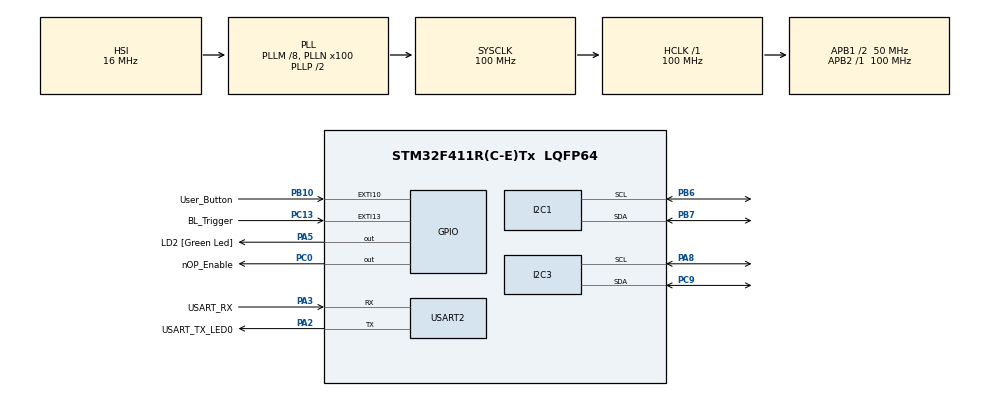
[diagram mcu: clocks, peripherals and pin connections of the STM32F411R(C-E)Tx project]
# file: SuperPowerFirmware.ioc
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Mcu.Family=STM32F4
FREERTOS.Queues01=Display_R_Queue,16,uint16_t,0,Dynamic,NULL,NULL;RTC_R_Queue,16,Task_Data,0,Dynamic,NULL,NULL;Statemachine_R_Queue,16,uint16_t,0,Dynamic,NULL,NULL;LED_R_Queue,16,LED_QueueMsg_t*,0,Dynamic,NULL,NULL;Test_R_Queue,16,Task_Data,0,Dynamic,NULL,NULL
RCC.CortexFreq_Value=100000000
NVIC.I2C1_EV_IRQn=true\:5\:0\:false\:false\:true\:false\:true\:true
Dma.I2C1_TX.1.Mode=DMA_CIRCULAR
PA14.GPIO_Label=TCK
PC0.GPIO_Label=nOP_Enable
VP_RTC_VS_RTC_Activate.Mode=RTC_Enabled
PC0.GPIO_ModeDefaultOutputPP=GPIO_MODE_OUTPUT_OD
RCC.SYSCLKSource=RCC_SYSCLKSOURCE_PLLCLK
ProjectManager.StackSize=0x400
VP_FREERTOS_VS_CMSIS_V2.Mode=CMSIS_V2
Dma.I2C1_TX.1.Direction=DMA_MEMORY_TO_PERIPH
RTC.SynchPrediv=249
PH0\ -\ OSC_IN.Signal=RCC_OSC_IN
FREERTOS.configUSE_STATS_FORMATTING_FUNCTIONS=1
RCC.HCLKFreq_Value=100000000
RCC.APB2TimFreq_Value=100000000
PB6.Signal=I2C1_SCL
Dma.I2C1_RX.0.PeriphDataAlignment=DMA_PDATAALIGN_BYTE
PB6.Mode=I2C
Dma.I2C1_TX.1.PeriphInc=DMA_PINC_DISABLE
FREERTOS.configMINIMAL_STACK_SIZE=1024
RCC.AHBFreq_Value=100000000
Dma.I2C1_RX.0.Priority=DMA_PRIORITY_VERY_HIGH
NVIC.EXTI15_10_IRQn=true\:5\:0\:false\:false\:true\:true\:true\:true
NVIC.TIM1_TRG_COM_TIM11_IRQn=true\:0\:0\:false\:false\:true\:false\:false\:true
RCC.HSE_VALUE=8000000
PB3.Mode=Trace_Asynchronous_SW
Dma.I2C1_RX.0.Mode=DMA_CIRCULAR
PC13-ANTI_TAMP.Signal=GPXTI13
FREERTOS.configENABLE_BACKWARD_COMPATIBILITY=1
NVIC.I2C3_EV_IRQn=true\:5\:0\:true\:false\:true\:false\:true\:true
I2C1.NoStretchMode=I2C_NOSTRETCH_DISABLE
PA14.Mode=Trace_Asynchronous_SW
PC9.Mode=I2C
RTC.AsynchPrediv=127
PB7.Signal=I2C1_SDA
PA8.Signal=I2C3_SCL
Dma.I2C1_RX.0.Direction=DMA_PERIPH_TO_MEMORY
NVIC.I2C1_ER_IRQn=true\:5\:0\:false\:false\:true\:false\:true\:true
FREERTOS.configTOTAL_HEAP_SIZE=50000
RCC.FLatency-AdvancedSettings=FLASH_LATENCY_3
Mcu.Package=LQFP64
NVIC.TimeBase=TIM1_TRG_COM_TIM11_IRQn
USART2.VirtualMode=VM_ASYNC
PA2.GPIO_Label=USART_TX_LED0
NVIC.TimeBaseIP=TIM11
VP_RTC_VS_RTC_Calendar.Mode=RTC_Calendar
Dma.Request1=I2C1_TX
RCC.APB1TimFreq_Value=100000000
FREERTOS.configGENERATE_RUN_TIME_STATS=1
NVIC.DMA1_Stream0_IRQn=true\:5\:0\:false\:false\:true\:true\:false\:true
Dma.Request0=I2C1_RX
PC0.PinState=GPIO_PIN_SET
PA3.Signal=USART2_RX
Dma.I2C1_TX.1.PeriphDataAlignment=DMA_PDATAALIGN_BYTE
Dma.I2C1_RX.0.PeriphInc=DMA_PINC_DISABLE
I2C3.I2C_Mode=I2C_Fast
Dma.I2C1_RX.0.MemDataAlignment=DMA_MDATAALIGN_BYTE
FREERTOS.Tasks01=Display,24,2048,Display_Task,Default,NULL,Dynamic,NULL,NULL;RTC,8,2048,RTC_Task,Default,NULL,Dynamic,NULL,NULL;StateMachine,8,2048,StateMachine_Task,Default,NULL,Dynamic,NULL,NULL;LED,8,2048,LED_Task,Default,NULL,Dynamic,NULL,NULL;Test,8,1024,Test_Task,Default,NULL,Dynamic,NULL,NULL
PC13-ANTI_TAMP.GPIO_Label=BL_Trigger
FREERTOS.configCHECK_FOR_STACK_OVERFLOW=2
FREERTOS.configUSE_TICKLESS_IDLE=1
NVIC.DMA1_Stream1_IRQn=true\:5\:0\:false\:false\:true\:true\:false\:true
PC0.Signal=GPIO_Output
RCC.APB1CLKDivider=RCC_HCLK_DIV2
PC14-OSC32_IN.Signal=RCC_OSC32_IN
I2C1.OwnAddress2=0x41
FREERTOS.INCLUDE_uxTaskGetStackHighWaterMark=1
I2C1.DualAddressMode=I2C_DUALADDRESS_ENABLE
PA13.Signal=SYS_JTMS-SWDIO
PA3.Mode=Asynchronous
FREERTOS.configRECORD_STACK_HIGH_ADDRESS=1
ProjectManager.TargetToolchain=STM32CubeIDE
PB10.GPIO_Label=User_Button
Dma.I2C1_RX.0.MemInc=DMA_MINC_ENABLE
Dma.I2C1_TX.1.Instance=DMA1_Stream1
RCC.LSE_VALUE=32768
PC15-OSC32_OUT.Signal=RCC_OSC32_OUT
PB10.Signal=GPXTI10
PA5.Signal=GPIO_Output
PH1\ -\ OSC_OUT.Signal=RCC_OSC_OUT
board=NUCLEO-F411RE
RCC.VCOOutputFreq_Value=200000000
Dma.I2C1_TX.1.Priority=DMA_PRIORITY_VERY_HIGH
Dma.I2C1_TX.1.FIFOMode=DMA_FIFOMODE_DISABLE
RCC.APB2Freq_Value=100000000
Dma.I2C1_TX.1.MemInc=DMA_MINC_ENABLE
Dma.I2C1_TX.1.MemDataAlignment=DMA_MDATAALIGN_BYTE
PA13.Mode=Trace_Asynchronous_SW
VP_SYS_VS_tim11.Mode=TIM11
Mcu.Name=STM32F411R(C-E)Tx
PA2.Signal=USART2_TX
PA13.GPIO_Label=TMS
FREERTOS.INCLUDE_uxTaskGetStackHighWaterMark2=1
I2C1.OwnAddress=0x40
RCC.48MHZClocksFreq_Value=50000000
PB3.Signal=SYS_JTDO-SWO
RCC.SYSCLKFreq_VALUE=100000000
PA5.GPIO_Label=LD2 [Green Led]
PC13-ANTI_TAMP.GPIO_ModeDefaultEXTI=GPIO_MODE_IT_FALLING
PB7.Mode=I2C
PA14.Signal=SYS_JTCK-SWCLK
ProjectManager.HeapSize=0x200
Dma.I2C1_RX.0.FIFOMode=DMA_FIFOMODE_DISABLE
RCC.HSI_VALUE=16000000
NVIC.PriorityGroup=NVIC_PRIORITYGROUP_4
RCC.PLLM=8
NVIC.I2C3_ER_IRQn=true\:5\:0\:true\:false\:true\:false\:true\:true
RCC.PLLN=100
PA2.Mode=Asynchronous
PA8.Mode=I2C
PC9.Signal=I2C3_SDA
RCC.APB1Freq_Value=50000000
Dma.I2C1_RX.0.Instance=DMA1_Stream0
PA3.GPIO_Label=USART_RX

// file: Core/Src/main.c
/* USER CODE BEGIN Header */
/**
  ******************************************************************************
  * @file           : main.c
  * @brief          : Main program body
  ******************************************************************************
  * @attention
  *
  * <h2><center>&copy; Copyright (c) 2020 STMicroelectronics.
  * All rights reserved.</center></h2>
  *
  * This software component is licensed by ST under Ultimate Liberty license
  * SLA0044, the "License"; You may not use this file except in compliance with
  * the License. You may obtain a copy of the License at:
  *                             www.st.com/SLA0044
  *
  ******************************************************************************
  */
/* USER CODE END Header */
#include "main.h"
#include "cmsis_os.h"
#include "dma.h"
#include "i2c.h"
#include "rtc.h"
#include "usart.h"
#include "gpio.h"

void SystemClock_Config(void);
void MX_FREERTOS_Init(void);

int main(void)
{

  /* MCU Configuration--------------------------------------------------------*/

  /* Reset of all peripherals, Initializes the Flash interface and the Systick. */
  HAL_Init();

  /* Configure the system clock */
  SystemClock_Config();

  /* Initialize all configured peripherals */
  MX_GPIO_Init();
  MX_DMA_Init();
  MX_USART2_UART_Init();
  MX_I2C1_Init();
  MX_RTC_Init();
  MX_I2C3_Init();
  /* USER CODE BEGIN 2 */

  // The RTC has to be initialized before we can read the registers
  restore_registers();

  // TODO RTC Verify that this works
	if (hrtc.Init.AsynchPrediv != i2c_config_register_8bit->rtc_async_prediv
		|| hrtc.Init.SynchPrediv != i2c_config_register_16bit->rtc_sync_prediv) {
		hrtc.Init.AsynchPrediv = i2c_config_register_8bit->rtc_async_prediv;
		hrtc.Init.SynchPrediv = i2c_config_register_16bit->rtc_sync_prediv;
		MX_RTC_Init();
	}

#ifdef FREERTOS_TOTAL_RUNTIME_TIMER
  initializeTimerForRunTimeStats();
  configureTimerForRunTimeStats();

#if (configUSE_TRACE_FACILITY == 1)
  //this enables the trace streaming to the ITM port
  //but it requires the configUSE_TRACE_FACILITY flag
  //enabled on the FreeRTOSConfig.h flag
  vTraceEnable(TRC_START);
#endif
#endif

  // Reset the timeout counter and enable listening on our
  // connection to the RPi
  reset_timeout();
  HAL_I2C_EnableListen_IT(&hi2c1);

  /* USER CODE END 2 */

  /* Init scheduler */
  osKernelInitialize();  /* Call init function for freertos objects (in freertos.c) */
  MX_FREERTOS_Init();
  /* Start scheduler */
  osKernelStart();

  /* We should never get here as control is now taken by the scheduler */
  /* Infinite loop */
  while (1)
  {

  }
}

void SystemClock_Config(void)
{
  RCC_OscInitTypeDef RCC_OscInitStruct = {0};
  RCC_ClkInitTypeDef RCC_ClkInitStruct = {0};
  RCC_PeriphCLKInitTypeDef PeriphClkInitStruct = {0};

  /** Configure the main internal regulator output voltage
  */
  __HAL_RCC_PWR_CLK_ENABLE();
  __HAL_PWR_VOLTAGESCALING_CONFIG(PWR_REGULATOR_VOLTAGE_SCALE1);
  /** Initializes the RCC Oscillators according to the specified parameters
  * in the RCC_OscInitTypeDef structure.
  */
  RCC_OscInitStruct.OscillatorType = RCC_OSCILLATORTYPE_HSI|RCC_OSCILLATORTYPE_LSI;
  RCC_OscInitStruct.HSIState = RCC_HSI_ON;
  RCC_OscInitStruct.HSICalibrationValue = RCC_HSICALIBRATION_DEFAULT;
  RCC_OscInitStruct.LSIState = RCC_LSI_ON;
  RCC_OscInitStruct.PLL.PLLState = RCC_PLL_ON;
  RCC_OscInitStruct.PLL.PLLSource = RCC_PLLSOURCE_HSI;
  RCC_OscInitStruct.PLL.PLLM = 8;
  RCC_OscInitStruct.PLL.PLLN = 100;
  RCC_OscInitStruct.PLL.PLLP = RCC_PLLP_DIV2;
  RCC_OscInitStruct.PLL.PLLQ = 4;
  if (HAL_RCC_OscConfig(&RCC_OscInitStruct) != HAL_OK)
  {
    Error_Handler();
  }
  /** Initializes the CPU, AHB and APB buses clocks
  */
  RCC_ClkInitStruct.ClockType = RCC_CLOCKTYPE_HCLK|RCC_CLOCKTYPE_SYSCLK
                              |RCC_CLOCKTYPE_PCLK1|RCC_CLOCKTYPE_PCLK2;
  RCC_ClkInitStruct.SYSCLKSource = RCC_SYSCLKSOURCE_PLLCLK;
  RCC_ClkInitStruct.AHBCLKDivider = RCC_SYSCLK_DIV1;
  RCC_ClkInitStruct.APB1CLKDivider = RCC_HCLK_DIV2;
  RCC_ClkInitStruct.APB2CLKDivider = RCC_HCLK_DIV1;

  if (HAL_RCC_ClockConfig(&RCC_ClkInitStruct, FLASH_LATENCY_3) != HAL_OK)
  {
    Error_Handler();
  }
  PeriphClkInitStruct.PeriphClockSelection = RCC_PERIPHCLK_RTC;
  PeriphClkInitStruct.RTCClockSelection = RCC_RTCCLKSOURCE_LSI;
  if (HAL_RCCEx_PeriphCLKConfig(&PeriphClkInitStruct) != HAL_OK)
  {
    Error_Handler();
  }
}

 /**
  * @brief  Period elapsed callback in non blocking mode
  * @note   This function is called  when TIM11 interrupt took place, inside
  * HAL_TIM_IRQHandler(). It makes a direct call to HAL_IncTick() to increment
  * a global variable "uwTick" used as application time base.
  * @param  htim : TIM handle
  * @retval None
  */
void HAL_TIM_PeriodElapsedCallback(TIM_HandleTypeDef *htim)
{
  if (htim->Instance == TIM11) {
    HAL_IncTick();
  }
}

void Error_Handler(void)
{
  __disable_irq();
  while (1)
  {
  }
}

/************************ (C) COPYRIGHT STMicroelectronics *****END OF FILE****/

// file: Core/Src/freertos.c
/* USER CODE BEGIN Header */
/**
  ******************************************************************************
  * File Name          : freertos.c
  * Description        : Code for freertos applications
  ******************************************************************************
  * @attention
  *
  * <h2><center>&copy; Copyright (c) 2020 STMicroelectronics.
  * All rights reserved.</center></h2>
  *
  * This software component is licensed by ST under Ultimate Liberty license
  * SLA0044, the "License"; You may not use this file except in compliance with
  * the License. You may obtain a copy of the License at:
  *                             www.st.com/SLA0044
  *
  ******************************************************************************
  */
/* USER CODE END Header */

#include "FreeRTOS.h"
#include "task.h"
#include "main.h"
#include "cmsis_os.h"

/* USER CODE BEGIN Includes */
#include <stdbool.h>
#include <string.h>
#include "i2c.h"
#include "ch_bq25895.h"
#include "rtc.h"
#include "task_communication.h"
#include "led_patterns.h"
#include "ups_state.h"
#include "rtc.h"
#include "display.h"
/* USER CODE END Includes */

/* Definitions for Display */
osThreadId_t DisplayHandle;
const osThreadAttr_t Display_attributes = {
  .name = "Display",
  .stack_size = 2048 * 4,
  .priority = (osPriority_t) osPriorityNormal,
};
/* Definitions for RTC */
osThreadId_t RTCHandle;
const osThreadAttr_t RTC_attributes = {
  .name = "RTC",
  .stack_size = 2048 * 4,
  .priority = (osPriority_t) osPriorityLow,
};
/* Definitions for StateMachine */
osThreadId_t StateMachineHandle;
const osThreadAttr_t StateMachine_attributes = {
  .name = "StateMachine",
  .stack_size = 2048 * 4,
  .priority = (osPriority_t) osPriorityLow,
};
/* Definitions for LED */
osThreadId_t LEDHandle;
const osThreadAttr_t LED_attributes = {
  .name = "LED",
  .stack_size = 2048 * 4,
  .priority = (osPriority_t) osPriorityLow,
};
/* Definitions for Test */
osThreadId_t TestHandle;
const osThreadAttr_t Test_attributes = {
  .name = "Test",
  .stack_size = 1024 * 4,
  .priority = (osPriority_t) osPriorityLow,
};
/* Definitions for Display_R_Queue */
osMessageQueueId_t Display_R_QueueHandle;
const osMessageQueueAttr_t Display_R_Queue_attributes = {
  .name = "Display_R_Queue"
};
/* Definitions for RTC_R_Queue */
osMessageQueueId_t RTC_R_QueueHandle;
const osMessageQueueAttr_t RTC_R_Queue_attributes = {
  .name = "RTC_R_Queue"
};
/* Definitions for Statemachine_R_Queue */
osMessageQueueId_t Statemachine_R_QueueHandle;
const osMessageQueueAttr_t Statemachine_R_Queue_attributes = {
  .name = "Statemachine_R_Queue"
};
/* Definitions for LED_R_Queue */
osMessageQueueId_t LED_R_QueueHandle;
const osMessageQueueAttr_t LED_R_Queue_attributes = {
  .name = "LED_R_Queue"
};
/* Definitions for Test_R_Queue */
osMessageQueueId_t Test_R_QueueHandle;
const osMessageQueueAttr_t Test_R_Queue_attributes = {
  .name = "Test_R_Queue"
};

void Display_Task(void *argument);
void RTC_Task(void *argument);
void StateMachine_Task(void *argument);
void LED_Task(void *argument);
void Test_Task(void *argument);

void MX_FREERTOS_Init(void); /* (MISRA C 2004 rule 8.1) */

/* Hook prototypes */
void configureTimerForRunTimeStats(void);
unsigned long getRunTimeCounterValue(void);
void vApplicationStackOverflowHook(xTaskHandle xTask, signed char *pcTaskName);

/* USER CODE BEGIN 1 */
/* Functions needed when configGENERATE_RUN_TIME_STATS is on */

/* USER CODE END 1 */

/* USER CODE BEGIN 4 */
void vApplicationStackOverflowHook(xTaskHandle xTask, signed char *pcTaskName)
{
   /* Run time stack overflow checking is performed if
   configCHECK_FOR_STACK_OVERFLOW is defined to 1 or 2. This hook function is
   called if a stack overflow is detected. */
}
/* USER CODE END 4 */

/* USER CODE BEGIN PREPOSTSLEEP */
__weak void PreSleepProcessing(uint32_t ulExpectedIdleTime)
{
/* place for user code */
}

__weak void PostSleepProcessing(uint32_t ulExpectedIdleTime)
{
/* place for user code */
}
/* USER CODE END PREPOSTSLEEP */

void MX_FREERTOS_Init(void) {

  /* Create the queue(s) */
  /* creation of Display_R_Queue */
  Display_R_QueueHandle = osMessageQueueNew (16, sizeof(uint16_t), &Display_R_Queue_attributes);

  /* creation of RTC_R_Queue */
  RTC_R_QueueHandle = osMessageQueueNew (16, sizeof(Task_Data), &RTC_R_Queue_attributes);

  /* creation of Statemachine_R_Queue */
  Statemachine_R_QueueHandle = osMessageQueueNew (16, sizeof(uint16_t), &Statemachine_R_Queue_attributes);

  /* creation of LED_R_Queue */
  LED_R_QueueHandle = osMessageQueueNew (16, sizeof(LED_QueueMsg_t*), &LED_R_Queue_attributes);

  /* creation of Test_R_Queue */
  Test_R_QueueHandle = osMessageQueueNew (16, sizeof(Task_Data), &Test_R_Queue_attributes);

  /* Create the thread(s) */
  /* creation of Display */
  DisplayHandle = osThreadNew(Display_Task, NULL, &Display_attributes);

  /* creation of RTC */
  RTCHandle = osThreadNew(RTC_Task, NULL, &RTC_attributes);

  /* creation of StateMachine */
  StateMachineHandle = osThreadNew(StateMachine_Task, NULL, &StateMachine_attributes);

  /* creation of LED */
  LEDHandle = osThreadNew(LED_Task, NULL, &LED_attributes);

  /* creation of Test */
  TestHandle = osThreadNew(Test_Task, NULL, &Test_attributes);

}

/* USER CODE BEGIN Header_Display_Task */

/**
  * @brief  Function implementing the Display thread. This thread is responsible for
  * the communication with a OLED display connected to the Qwiic connector. The
  * display type itself is defined in the source file display.c.
  * If a valid display type is set then the display is updated every second.
  * @param  argument: Not used
  * @retval None
  */
/* USER CODE END Header_Display_Task */
void Display_Task(void *argument)
{
  /* USER CODE BEGIN Display_Task */
	uint16_t re_init = (i2c_config_register_8bit->display_type != 0);  // 1 signals initialization necessary

	/* Infinite loop */
	for (;;) {
		uint8_t display_type = i2c_config_register_8bit->display_type;
		if(display_type == 0 || display_type > num_display_definitions) {
			if(re_init == 1) {
				// this frees the memory allocated by the display buffers
				// if we switched from an actual display type to 0
				re_init = 0;
				deinit_display();
			}

			// If we do not have a valid display type we simply wait for the next
			// message
			osMessageQueueGet(Display_R_QueueHandle, &re_init, NULL, osWaitForever);
		} else {
			if(re_init == 1) {
				re_init = 0;
				init_display(display_type);
			}
			update_display(display_type);

			// Wait one second, then go into the next loop to update the display
			osMessageQueueGet(Display_R_QueueHandle, &re_init, NULL, 1000);
		}
	}
  /* USER CODE END Display_Task */
}

void RTC_Task(void *argument)
{
  /* USER CODE BEGIN RTC_Task */
	Task_Data msg;
	osStatus_t status;
	for(;;)
	{
		status = osMessageQueueGet(RTC_R_QueueHandle, &msg, NULL, osWaitForever);
		if(status ==osOK){
//			debug_print("RTC_Task receive, ");
			rtc_msg_decode(msg.data_size, msg.data);
		}
	}
  /* USER CODE END RTC_Task */
}

/* USER CODE BEGIN Header_StateMachine_Task */

/**
* @brief Function implementing the StateMachine thread. This thread is responsible
* for retrieving the charger info, writing the important information to the I2C
* registers and then calling the state machine with the updated info.
* @param argument: Not used
* @retval None
*/
/* USER CODE END Header_StateMachine_Task */
void StateMachine_Task(void *argument)
{
  /* USER CODE BEGIN StateMachine_Task */

	HAL_StatusTypeDef ret_val;

 	// initialize charger on startup
	ret_val = ch_init(&hi2c3);

	/* Infinite loop */
	for (;;) {
		uint16_t msg = 0;

		if (hi2c3.State == HAL_I2C_STATE_READY) {
			// start ADC conversion
			ret_val = ch_transfer_byte_to_register(&hi2c3, CH_CONV_ADC,
					CH_CONV_ADC_START);

			if (ret_val == HAL_OK) {
				osDelay(ch_conv_delay); // time for conversion, see 8.2.8 Battery Monitor on p.24

				// Tell the charger that we want to read its registers
				uint8_t reg = CH_STATUS;
				ret_val = HAL_I2C_Master_Transmit(&hi2c3, CHARGER_ADDRESS, &reg, 1, ch_i2c_master_timeout);

				if (ret_val == HAL_OK) {
					// Read the charger registers into the array i2c_ch_BQ25895_register_reg
					ret_val = HAL_I2C_Master_Receive(&hi2c3, CHARGER_ADDRESS, i2c_ch_BQ25895_register_reg,
							sizeof(I2C_CH_BQ25895_Register), ch_i2c_master_timeout);
					if(ret_val == HAL_OK) {
						// Reading the registers was successful, extract information and write it
						// to the I2C registers
						i2c_status_register_8bit->charger_status = i2c_ch_BQ25895_register.ch_status;
						uint16_t batv = ch_convert_batv(i2c_ch_BQ25895_register.ch_bat_voltage);
						i2c_status_register_16bit->ups_bat_voltage = batv;
						uint16_t vbus_v = ch_convert_vbus(i2c_ch_BQ25895_register.ch_vbus_voltage);
						i2c_status_register_16bit->vbus_voltage = vbus_v;
						uint16_t ch_current = ch_convert_charge_current(i2c_ch_BQ25895_register.ch_charge_current);
						i2c_status_register_16bit->charge_current = ch_current;

						// ok, contact has been established, we can use the values
						i2c_status_register_8bit->charger_contact = true;
					}

				} else if (ret_val == HAL_ERROR) { // Master Transmit Address
					// This should never happen because we just did a successful
					// transmit a second ago. We have to ignore this and hope for
					// the next time.
				}
			} else if (ret_val == HAL_ERROR) { // Master_Transmit ADC
				// cannot transmit data to the charger, means the device
				// is not reachable. We simply ignore this and wait for
				// it to come online.
			}
		}

		// Now we have the updated charger info and call the state machine
		handle_state();

		// Trigger an update for the display thread
		osMessageQueuePut(Display_R_QueueHandle, &msg, 0, 0);

		osDelay(ups_update_interval);
	}
  /* USER CODE END StateMachine_Task */
}

/* USER CODE BEGIN Header_LED_Task */
/**
* @brief Function implementing the LED thread. This thread receives patterns
* in its queue and blinks the LED accordingly. Until the UPS gets a RGB LED
* this only turns an LED on and off. The patters are defined in the source
* file led_patterns.c.
* @param argument: Not used
* @retval None
*/
/* USER CODE END Header_LED_Task */
void LED_Task(void *argument)
{
  /* USER CODE BEGIN LED_Task */
	LED_QueueMsg_t *msg;
	LED_QueueMsg_t *current = NULL, *background = blink_second_background;
	osStatus_t status;
	uint32_t waiting_time = 0;

    for(;;)
    {
	if(background == NULL) {
		waiting_time = osWaitForever; // wait for message
	} else {
		waiting_time = 0; // do not wait for message
	}
		status = osMessageQueueGet(LED_R_QueueHandle, &msg, NULL, waiting_time);
		if (status == osOK) {
			if(msg->iterations == 0) {
				// If iterations is 0 then we turn off the background blinking
				background = NULL;
				current = NULL;
			} else if(msg->iterations == 255) {
				// If iterations is 0xFF then we use the blink pattern as the
				// new current and background pattern
				background = msg;
				current = background;
			} else {
				current = msg;
			}
		} else {
			// No new message, we choose the background pattern if it is set
			current = background;
		}

		if(current != NULL) {
			uint8_t iterations = current->iterations;

			// We have a background pattern
			if(iterations == 0xFF) {
				iterations = 1;
			}

			// Iterate through the steps for # of iterations
			for(uint8_t i = 0; i < iterations; i++) {
				for(uint8_t s = 0; s < current->number_steps; s++) {
					LED_Step step = ((LED_Step *)(current->steps))[s];
					uint8_t repeat = step.repeat;
					if(repeat == 0) repeat = 1;

					for(uint8_t r = 0; r < repeat; r++) {
						if(step.ontime != 0)
						{
							HAL_GPIO_WritePin(LD2_GPIO_Port, LD2_Pin, GPIO_PIN_SET);
							osDelay(step.ontime);
						}
						if(step.offtime != 0) {
							HAL_GPIO_WritePin(LD2_GPIO_Port, LD2_Pin, GPIO_PIN_RESET);
							osDelay(step.offtime);
						}
					}
				}
			}
			if(current->final_delay != 0) {
				osDelay(current->final_delay);
			}
		}
		current = NULL;
    }
  /* USER CODE END LED_Task */
}

/* USER CODE BEGIN Header_Test_Task */
/**
* @brief Function implementing the Test thread. This is an example task
* implementing task communication via I2C, receiving data through its
* queue, sending data through the associated callback test_callback.
* Association is created in task_communication.c, where queue and
* callback reference are stored in an array of tasks.
* @param argument: Not used
* @retval None
*/
uint8_t test_task_data[10] = {0, 1, 2, 3, 4, 5, 6, 7, 8, 9};

/* USER CODE END Header_Test_Task */
void Test_Task(void *argument)
{
  /* USER CODE BEGIN Test_Task */
	Task_Data msg;
	osStatus_t status;
	uint32_t waiting_time = 1000;
	uint8_t len = 0;
  /* Infinite loop */
  for(;;)
  {
		status = osMessageQueueGet(Test_R_QueueHandle, &msg, NULL, waiting_time); // wait for message
		if (status == osOK) {
			// copy msg to test_task_data
			len = (msg.data_size > sizeof(test_task_data)) ? sizeof(test_task_data) : msg.data_size;
			memcpy(test_task_data, msg.data, len);
		}
		// Here comes the business logic
		for (uint8_t i = 0; i < len; i++) {
			test_task_data[i] += 1;
		}

  }
  /* USER CODE END Test_Task */
}

/* USER CODE BEGIN Application */

uint8_t test_callback(uint8_t transfer[]) {
	memcpy(transfer, test_task_data, sizeof(test_task_data));
	return sizeof(test_task_data);
}

/* USER CODE END Application */

/************************ (C) COPYRIGHT STMicroelectronics *****END OF FILE****/
